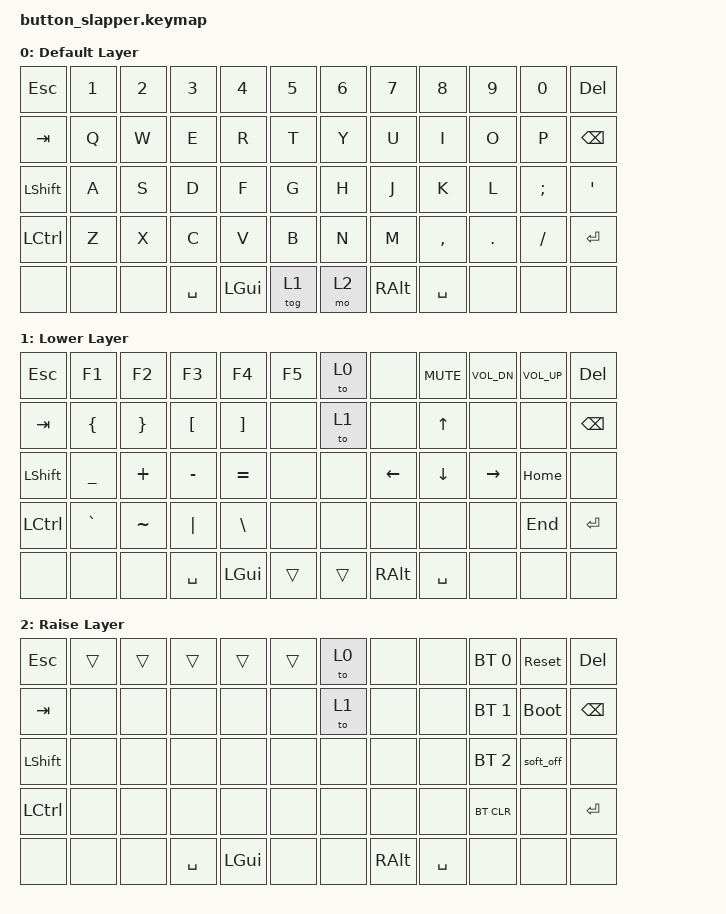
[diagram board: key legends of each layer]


#include <behaviors.dtsi>
#include <dt-bindings/zmk/keys.h>
#include <dt-bindings/zmk/bt.h>

/ {
        keymap {
                compatible = "zmk,keymap";

                default_layer {
                        display-name = "Default Layer";
// -----------------------------------------layer0------------------------------------------------
// |  ESC |  1  |  2  |  3  |  4  |  5  |                 |  6  |  7   |  8  |  9  |  0  | DEL  |
// |  TAB |  Q  |  W  |  E  |  R  |  T  |                 |  Y  |  U   |  I  |  O  |  P  | BSPC |
// | SHFT |  A  |  S  |  D  |  F  |  G  |                 |  H  |  J   |  K  |  L  |  ;  |  '   |
// | CTRL |  Z  |  X  |  C  |  V  |  B  |                 |  N  |  M   |  ,  |  .  |  /  | ENT  |
//                    | SPC | GUI | LWR |                 | RSE | ALT  | SPC |
                        bindings = <
   &kp ESC   &kp N1 &kp N2 &kp N3    &kp N4   &kp N5      &kp N6  &kp N7   &kp N8    &kp N9  &kp N0   &kp DEL                        
   &kp TAB   &kp Q  &kp W  &kp E     &kp R    &kp T       &kp Y   &kp U    &kp I     &kp O   &kp P    &kp BSPC
   &kp LSHFT &kp A  &kp S  &kp D     &kp F    &kp G       &kp H   &kp J    &kp K     &kp L   &kp SEMI &kp SQT
   &kp LCTRL &kp Z  &kp X  &kp C     &kp V    &kp B       &kp N   &kp M    &kp COMMA &kp DOT &kp FSLH &kp RET
   &none     &none  &none  &kp SPACE &kp LGUI &tog 1      &mo 2  &kp RALT &kp SPACE  &none   &none    &none
                        >;
                };
                lower_layer {
                        display-name = "Lower Layer";
// ------------------------------------------layer1-----------------------------------------------
// | ESC  | F1  | F2  | F3  | F4  | F5  |                            | LYR 0|     |VOLmt |VOLdwn|VOLup| DEL  |
// | TAB  |  {  |  }  |  [  |  ]  |     |                            | LYR 1|     |  UP  |      |     | BSPC |
// | SHFT |  _  |  +  |  -  |  =  |     |                            |      | LFT | DWN  | RGT  | HOME|      |
// | CTRL |  `  |  ~  | "|" |  \  |     |                            |      |     |      |      | END | ENT  |
//                    | SPC | GUI |     |                            |      | ALT | SPC  |
                        bindings = <
   &kp ESC   &kp F1    &kp F2     &kp F3    &kp F4    &kp F5          &to 0   &none    &kp C_MUTE &kp C_VOL_DN &kp C_VOL_UP  &kp DEL                        
   &kp TAB   &kp LBRC   &kp RBRC  &kp LBKT  &kp RBKT  &none           &to 1   &none    &kp UP     &none        &none         &kp BSPC
   &kp LSHFT &kp UNDER &kp PLUS   &kp MINUS &kp EQUAL &none           &none   &kp LEFT &kp DOWN   &kp RIGHT    &kp HOME      &none
   &kp LCTRL &kp GRAVE  &kp TILDE &kp PIPE  &kp BSLH  &none           &none   &none    &none      &none        &kp END       &kp RET
   &none     &none     &none      &kp SPACE &kp LGUI  &trans          &trans  &kp RALT &kp SPACE  &none        &none         &none
                        >;
                };
                
                raise_layer {
                        display-name = "Raise Layer";
// ---------------------------------------layer2------------------------------------------------
// | ESC  |     |     |     |     |     |                     |LYR 0|     |     | BT1 | reset | DEL  |
// |  TAB |     |     |     |     |     |                     |LYR 1|     |     | BT2 |bootlod| BSPC |
// | SHFT |     |     |     |     |     |                     |     |     |     | BT3 |  off  |      |
// | CTRL |     |     |     |     |     |                     |     |     |     |BTCLR|       | ENT  |
//                    | SPC | GUI |     |                     |     | ALT | SPC |
                        bindings = <
   &kp ESC   &trans   &trans &trans    &trans    &trans        &to 0      &none     &none      &bt BT_SEL 0 &sys_reset  &kp DEL                        
   &kp  TAB  &none    &none  &none     &none     &none         &to 1      &none     &none      &bt BT_SEL 1 &bootloader &kp BSPC
   &kp LSHFT &none    &none  &none     &none     &none         &none      &none     &none      &bt BT_SEL 2 &soft_off   &none
   &kp LCTRL &none    &none  &none     &none     &none         &none      &none     &none      &bt BT_CLR   &none       &kp RET
   &none     &none    &none  &kp SPACE &kp LGUI  &none         &none      &kp RALT  &kp SPACE  &none        &none       &none
                        >;
                };

        };
};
